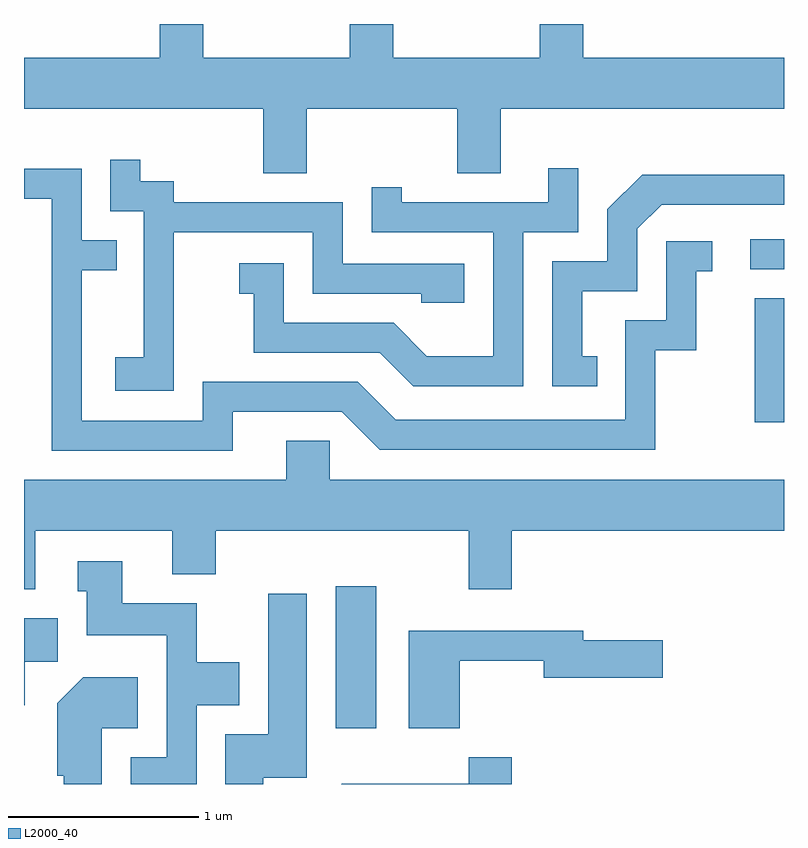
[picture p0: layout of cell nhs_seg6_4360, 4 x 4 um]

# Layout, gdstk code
import gdstk
lib = gdstk.Library(unit=1e-6, precision=1e-09)
def R(c, l, rs):  # rectangles x0, y0, x1, y1
    for r in rs: c.add(gdstk.rectangle(r[:2], r[2:], *l))
def P(c, l, *ps):  # polygons
    for p in ps: c.add(gdstk.Polygon(p, *l))
L2000_40 = (2000, 40)

nhs_seg6_4360 = lib.new_cell('nhs_seg6_4360')
R(nhs_seg6_4360, L2000_40, [(319.251,1644.456,319.464,1645.204), (321.456,1646.066,321.611,1646.719), (321.433,1646.871,321.611,1647.029)])
P(nhs_seg6_4360, L2000_40, [(319.099,1647.716),(319.891,1647.716),(319.891,1647.376),(320.119,1647.376),(320.119,1647.716),(321.611,1647.716),(321.611,1647.984),(320.554,1647.984),(320.554,1648.162),(320.326,1648.162),(320.326,1647.984),(319.554,1647.984),(319.554,1648.162),(319.326,1648.162),(319.326,1647.984),(318.554,1647.984),(318.554,1648.162),(318.326,1648.162),(318.326,1647.984),(317.611,1647.984),(317.611,1647.716),(318.871,1647.716),(318.871,1647.376),(319.099,1647.376)],
  [(318.399,1647.066),(319.131,1647.066),(319.131,1646.741),(319.701,1646.741),(319.701,1646.696),(319.929,1646.696),(319.929,1646.899),(319.289,1646.899),(319.289,1647.224),(318.399,1647.224),(318.399,1647.334),(318.224,1647.334),(318.224,1647.448),(318.066,1647.448),(318.066,1647.176),(318.241,1647.176),(318.241,1646.409),(318.091,1646.409),(318.091,1646.231),(318.399,1646.231)],
  [(320.239,1647.066),(320.529,1647.066),(320.529,1647.403),(320.371,1647.403),(320.371,1647.224),(319.599,1647.224),(319.599,1647.303),(319.441,1647.303),(319.441,1647.066),(320.081,1647.066),(320.081,1646.414),(319.732,1646.414),(319.557,1646.589),(318.979,1646.589),(318.979,1646.904),(318.743,1646.904),(318.743,1646.741),(318.821,1646.741),(318.821,1646.431),(319.484,1646.431),(319.659,1646.256),(320.239,1646.256)],
  [(318.709,1646.121),(319.284,1646.121),(319.484,1645.921),(320.934,1645.921),(320.934,1646.446),(321.149,1646.446),(321.149,1646.861),(321.233,1646.861),(321.233,1647.019),(320.991,1647.019),(320.991,1646.604),(320.776,1646.604),(320.776,1646.079),(319.567,1646.079),(319.367,1646.279),(318.551,1646.279),(318.551,1646.074),(317.914,1646.074),(317.914,1646.866),(318.098,1646.866),(318.098,1647.024),(317.914,1647.024),(317.914,1647.399),(317.611,1647.399),(317.611,1647.241),(317.756,1647.241),(317.756,1645.916),(318.709,1645.916)],
  [(320.628,1646.414),(320.549,1646.414),(320.549,1646.756),(320.839,1646.756),(320.839,1647.084),(320.967,1647.211),(321.611,1647.211),(321.611,1647.369),(320.864,1647.369),(320.681,1647.187),(320.681,1646.914),(320.391,1646.914),(320.391,1646.256),(320.628,1646.256)],
  [(319.951,1645.186),(320.179,1645.186),(320.179,1645.496),(321.611,1645.496),(321.611,1645.764),(319.219,1645.764),(319.219,1645.969),(318.991,1645.969),(318.991,1645.764),(317.611,1645.764),(317.611,1645.186),(317.669,1645.186),(317.669,1645.496),(318.391,1645.496),(318.391,1645.266),(318.619,1645.266),(318.619,1645.496),(319.951,1645.496)],
  [(318.519,1644.576),(318.744,1644.576),(318.744,1644.804),(318.519,1644.804),(318.519,1645.114),(318.129,1645.114),(318.129,1645.334),(317.893,1645.334),(317.893,1645.176),(317.941,1645.176),(317.941,1644.946),(318.361,1644.946),(318.361,1644.304),(318.173,1644.304),(318.173,1644.162),(318.519,1644.162)],
  [(318.869,1644.196),(319.099,1644.196),(319.099,1645.164),(318.896,1645.164),(318.896,1644.424),(318.671,1644.424),(318.671,1644.162),(318.869,1644.162)],
  [(317.614,1644.806),(317.789,1644.806),(317.789,1645.034),(317.611,1645.034),(317.611,1644.576),(317.614,1644.576)],
  [(319.904,1644.811),(320.346,1644.811),(320.346,1644.721),(320.974,1644.721),(320.974,1644.919),(320.554,1644.919),(320.554,1644.969),(319.636,1644.969),(319.636,1644.456),(319.904,1644.456)],
  [(318.019,1644.456),(318.209,1644.456),(318.209,1644.724),(317.924,1644.724),(317.786,1644.587),(317.786,1644.206),(317.821,1644.206),(317.821,1644.162),(318.019,1644.162)],
  [(320.179,1644.304),(319.951,1644.304),(319.951,1644.164),(319.284,1644.164),(319.282,1644.162),(320.179,1644.162)])

lib.write_gds('nhs_seg6_4360.gds')
